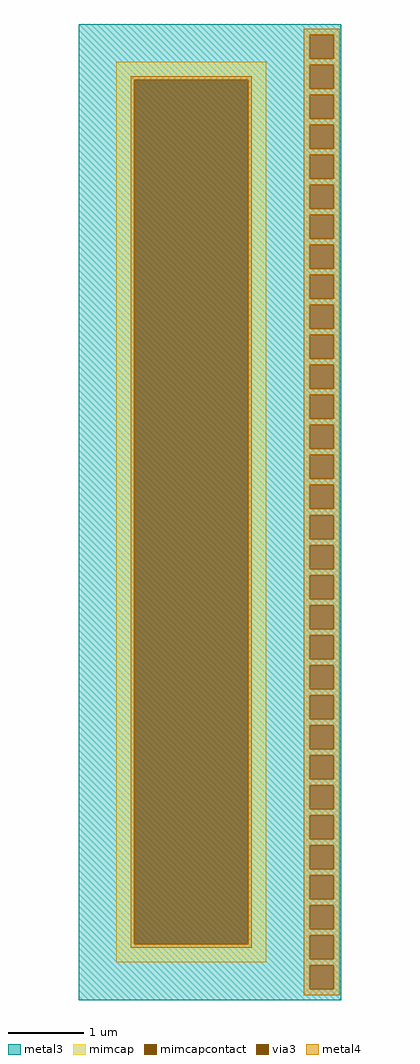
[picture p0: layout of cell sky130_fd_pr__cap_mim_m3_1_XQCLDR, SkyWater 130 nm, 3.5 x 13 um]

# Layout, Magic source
magic
tech sky130A
magscale 1 2
<< metal3 >>
rect -350 1272 349 1300
rect -350 1208 265 1272
rect 329 1208 349 1272
rect -350 1192 349 1208
rect -350 1128 265 1192
rect 329 1128 349 1192
rect -350 1112 349 1128
rect -350 1048 265 1112
rect 329 1048 349 1112
rect -350 1032 349 1048
rect -350 968 265 1032
rect 329 968 349 1032
rect -350 952 349 968
rect -350 888 265 952
rect 329 888 349 952
rect -350 872 349 888
rect -350 808 265 872
rect 329 808 349 872
rect -350 792 349 808
rect -350 728 265 792
rect 329 728 349 792
rect -350 712 349 728
rect -350 648 265 712
rect 329 648 349 712
rect -350 632 349 648
rect -350 568 265 632
rect 329 568 349 632
rect -350 552 349 568
rect -350 488 265 552
rect 329 488 349 552
rect -350 472 349 488
rect -350 408 265 472
rect 329 408 349 472
rect -350 392 349 408
rect -350 328 265 392
rect 329 328 349 392
rect -350 312 349 328
rect -350 248 265 312
rect 329 248 349 312
rect -350 232 349 248
rect -350 168 265 232
rect 329 168 349 232
rect -350 152 349 168
rect -350 88 265 152
rect 329 88 349 152
rect -350 72 349 88
rect -350 8 265 72
rect 329 8 349 72
rect -350 -8 349 8
rect -350 -72 265 -8
rect 329 -72 349 -8
rect -350 -88 349 -72
rect -350 -152 265 -88
rect 329 -152 349 -88
rect -350 -168 349 -152
rect -350 -232 265 -168
rect 329 -232 349 -168
rect -350 -248 349 -232
rect -350 -312 265 -248
rect 329 -312 349 -248
rect -350 -328 349 -312
rect -350 -392 265 -328
rect 329 -392 349 -328
rect -350 -408 349 -392
rect -350 -472 265 -408
rect 329 -472 349 -408
rect -350 -488 349 -472
rect -350 -552 265 -488
rect 329 -552 349 -488
rect -350 -568 349 -552
rect -350 -632 265 -568
rect 329 -632 349 -568
rect -350 -648 349 -632
rect -350 -712 265 -648
rect 329 -712 349 -648
rect -350 -728 349 -712
rect -350 -792 265 -728
rect 329 -792 349 -728
rect -350 -808 349 -792
rect -350 -872 265 -808
rect 329 -872 349 -808
rect -350 -888 349 -872
rect -350 -952 265 -888
rect 329 -952 349 -888
rect -350 -968 349 -952
rect -350 -1032 265 -968
rect 329 -1032 349 -968
rect -350 -1048 349 -1032
rect -350 -1112 265 -1048
rect 329 -1112 349 -1048
rect -350 -1128 349 -1112
rect -350 -1192 265 -1128
rect 329 -1192 349 -1128
rect -350 -1208 349 -1192
rect -350 -1272 265 -1208
rect 329 -1272 349 -1208
rect -350 -1300 349 -1272
<< via3 >>
rect 265 1208 329 1272
rect 265 1128 329 1192
rect 265 1048 329 1112
rect 265 968 329 1032
rect 265 888 329 952
rect 265 808 329 872
rect 265 728 329 792
rect 265 648 329 712
rect 265 568 329 632
rect 265 488 329 552
rect 265 408 329 472
rect 265 328 329 392
rect 265 248 329 312
rect 265 168 329 232
rect 265 88 329 152
rect 265 8 329 72
rect 265 -72 329 -8
rect 265 -152 329 -88
rect 265 -232 329 -168
rect 265 -312 329 -248
rect 265 -392 329 -328
rect 265 -472 329 -408
rect 265 -552 329 -488
rect 265 -632 329 -568
rect 265 -712 329 -648
rect 265 -792 329 -728
rect 265 -872 329 -808
rect 265 -952 329 -888
rect 265 -1032 329 -968
rect 265 -1112 329 -1048
rect 265 -1192 329 -1128
rect 265 -1272 329 -1208
<< mimcap >>
rect -250 1152 150 1200
rect -250 -1152 -202 1152
rect 102 -1152 150 1152
rect -250 -1200 150 -1152
<< mimcapcontact >>
rect -202 -1152 102 1152
<< metal4 >>
rect 249 1272 345 1288
rect 249 1208 265 1272
rect 329 1208 345 1272
rect 249 1192 345 1208
rect -211 1152 111 1161
rect -211 -1152 -202 1152
rect 102 -1152 111 1152
rect -211 -1161 111 -1152
rect 249 1128 265 1192
rect 329 1128 345 1192
rect 249 1112 345 1128
rect 249 1048 265 1112
rect 329 1048 345 1112
rect 249 1032 345 1048
rect 249 968 265 1032
rect 329 968 345 1032
rect 249 952 345 968
rect 249 888 265 952
rect 329 888 345 952
rect 249 872 345 888
rect 249 808 265 872
rect 329 808 345 872
rect 249 792 345 808
rect 249 728 265 792
rect 329 728 345 792
rect 249 712 345 728
rect 249 648 265 712
rect 329 648 345 712
rect 249 632 345 648
rect 249 568 265 632
rect 329 568 345 632
rect 249 552 345 568
rect 249 488 265 552
rect 329 488 345 552
rect 249 472 345 488
rect 249 408 265 472
rect 329 408 345 472
rect 249 392 345 408
rect 249 328 265 392
rect 329 328 345 392
rect 249 312 345 328
rect 249 248 265 312
rect 329 248 345 312
rect 249 232 345 248
rect 249 168 265 232
rect 329 168 345 232
rect 249 152 345 168
rect 249 88 265 152
rect 329 88 345 152
rect 249 72 345 88
rect 249 8 265 72
rect 329 8 345 72
rect 249 -8 345 8
rect 249 -72 265 -8
rect 329 -72 345 -8
rect 249 -88 345 -72
rect 249 -152 265 -88
rect 329 -152 345 -88
rect 249 -168 345 -152
rect 249 -232 265 -168
rect 329 -232 345 -168
rect 249 -248 345 -232
rect 249 -312 265 -248
rect 329 -312 345 -248
rect 249 -328 345 -312
rect 249 -392 265 -328
rect 329 -392 345 -328
rect 249 -408 345 -392
rect 249 -472 265 -408
rect 329 -472 345 -408
rect 249 -488 345 -472
rect 249 -552 265 -488
rect 329 -552 345 -488
rect 249 -568 345 -552
rect 249 -632 265 -568
rect 329 -632 345 -568
rect 249 -648 345 -632
rect 249 -712 265 -648
rect 329 -712 345 -648
rect 249 -728 345 -712
rect 249 -792 265 -728
rect 329 -792 345 -728
rect 249 -808 345 -792
rect 249 -872 265 -808
rect 329 -872 345 -808
rect 249 -888 345 -872
rect 249 -952 265 -888
rect 329 -952 345 -888
rect 249 -968 345 -952
rect 249 -1032 265 -968
rect 329 -1032 345 -968
rect 249 -1048 345 -1032
rect 249 -1112 265 -1048
rect 329 -1112 345 -1048
rect 249 -1128 345 -1112
rect 249 -1192 265 -1128
rect 329 -1192 345 -1128
rect 249 -1208 345 -1192
rect 249 -1272 265 -1208
rect 329 -1272 345 -1208
rect 249 -1288 345 -1272
<< properties >>
string FIXED_BBOX -350 -1300 250 1300
<< end >>
